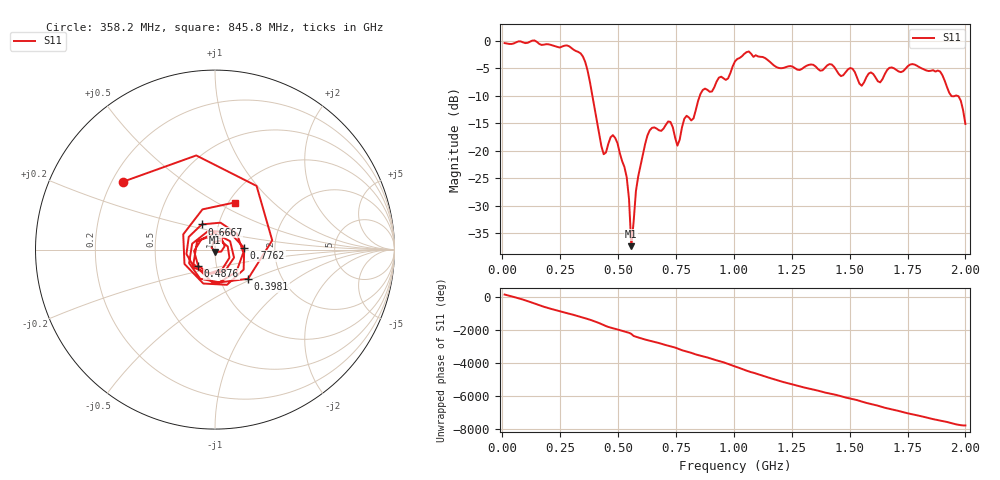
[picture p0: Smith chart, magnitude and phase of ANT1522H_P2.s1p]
!Created with skrf (http://scikit-rf.org).
# Hz S RI R 50.0
!freq ReS11 ImS11
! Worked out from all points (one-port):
!   201 points, 10 MHz to 2 GHz, reference 50 ohm
!   lowest |S11| = -37.4 dB at 557.2 MHz (marker M1), VSWR 1.03, Z = 50.1 - j1.35 ohm
!   |S11| at or under -10 dB: 388.9 MHz to 853.4 MHz (464.5 MHz wide, 74.8 % of centre); 1.938 GHz to 1.959 GHz (20.21 MHz wide, 1.04 % of centre); 1.962 GHz to end of sweep
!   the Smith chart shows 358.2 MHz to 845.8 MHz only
!   S11 on the Smith chart (normalised r, x): 358.2 MHz: 0.24, +0.31; 398.1 MHz: 1.36, -0.47; 487.6 MHz: 0.82, -0.15; 666.7 MHz: 0.83, +0.24; 776.1 MHz: 1.39, +0.03; 845.8 MHz: 1.07, +0.61
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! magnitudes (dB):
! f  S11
! 10 MHz  -0.5
! 258.8 MHz  -1.1
! 358.2 MHz  -3.9
! 398.1 MHz  -12.2
! 437.9 MHz  -20.6
! 487.6 MHz  -17.7
! 507.5 MHz  -20.5
! 537.4 MHz  -24.8
! 547.3 MHz  -28.8
! 557.2 MHz  -37.4
! 577.1 MHz  -27.3
! 607 MHz  -20.7
! 636.9 MHz  -16.3
! 666.7 MHz  -16.0
! 726.4 MHz  -14.8
! 756.2 MHz  -19.1
! 776.1 MHz  -15.7
! 825.9 MHz  -14.1
! 845.8 MHz  -10.9
! 1.005 GHz  -3.8
! 1.065 GHz  -2.0
! 1.254 GHz  -4.7
! 1.502 GHz  -5.0
! 1.552 GHz  -8.2
! 1.751 GHz  -4.7
! 1.891 GHz  -5.6
! 1.98 GHz  -10.9
! 2 GHz  -15.2
